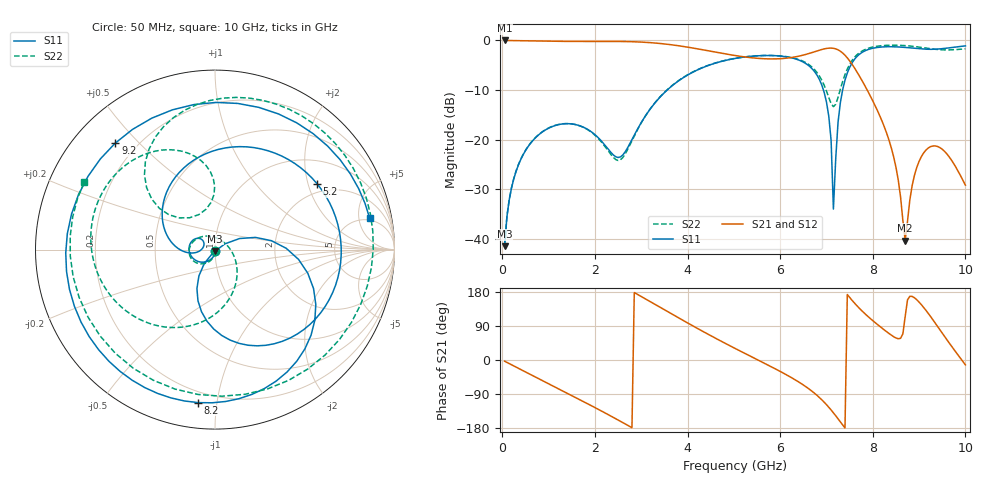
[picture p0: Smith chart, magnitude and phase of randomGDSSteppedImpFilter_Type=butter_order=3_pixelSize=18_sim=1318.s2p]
! freq	dB(S11)	phase(S11)	dB(S12)	phase(S12)
!  dB(S21)	phase(S21)	dB(S22)	phase(S22)
!S-par simulation data
#  GHz  S  DB  R 50
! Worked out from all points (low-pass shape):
!   200 points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, 50 MHz to 10 GHz, reference 50 ohm
!   highest |S21| = -0.02 dB at 50 MHz (marker M1); lowest = -40.3 dB at 8.7 GHz (marker M2)
!   |S21| within 3 dB of the highest: start of sweep to 5.002 GHz; 6.478 GHz to 7.402 GHz (924 MHz wide, 13.3 % of centre)
!   lowest |S11| = -41.5 dB at 50 MHz (marker M3), VSWR 1.02, Z = 50.2 - j0.833 ohm
!   |S11| at or under -10 dB: start of sweep to 3.561 GHz; 6.934 GHz to 7.349 GHz (415 MHz wide, 5.81 % of centre)
!   |S22| runs from -41.4 to -1.0 dB; largest |S21 - S12| = 0
!   S11 on the Smith chart (normalised r, x): 50 MHz: 1.00, -0.02; 5.2 GHz: 1.70, +2.29; 8.2 GHz: 0.14, -0.89; 9.2 GHz: 0.12, +0.43; 10 GHz: 4.52, +7.02
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0.05  -41.46 -79.2  -0.02 -3.2  -0.02 -3.2  -41.43 -78.9
0.2  -29.69 -99.3  -0.05 -12.7  -0.05 -12.7  -29.64 -97.2
0.55  -21.50 -126.5  -0.10 -34.6  -0.10 -34.6  -21.45 -120.8
1.75  -17.49 156.8  -0.22 -109.5  -0.22 -109.5  -17.52 163.7
2.55  -23.48 168.1  -0.23 -161.6  -0.23 -161.6  -24.07 45.6
3.4  -11.49 166.2  -0.63 139.7  -0.63 139.7  -11.45 -69.8
4.1  -6.48 114.8  -1.52 91.0  -1.52 91.0  -6.43 -114.7
5.05  -3.60 43.5  -3.09 29.1  -3.09 29.1  -3.59 -166.2
5.2  -3.39 32.7  -3.30 19.7  -3.30 19.7  -3.38 -174.0
5.95  -3.12 -20.0  -3.72 -26.8  -3.72 -26.8  -3.10 147.0
6.7  -5.82 -80.5  -2.43 -83.5  -2.43 -83.5  -5.49 102.2
7.05  -15.28 -121.4  -1.57 -124.6  -1.57 -124.6  -11.52 94.4
7.15  -33.99 -122.5  -1.60 -139.3  -1.60 -139.3  -13.36 114.8
7.25  -16.49 24.3  -1.91 -155.2  -1.91 -155.2  -11.51 138.4
7.4  -8.03 1.1  -3.00 -179.4  -3.00 -179.4  -6.90 141.4
7.7  -2.89 -41.7  -7.00 137.7  -7.00 137.7  -2.58 112.6
8.2  -1.33 -96.2  -16.27 84.0  -16.27 84.0  -1.07 62.1
8.35  -1.28 -111.7  -20.10 70.0  -20.10 70.0  -0.99 46.7
8.7  -1.43 -151.6  -40.33 115.1  -40.33 115.1  -1.06 6.6
9.2  -1.80 133.1  -21.67 122.7  -21.67 122.7  -1.62 -69.3
9.65  -1.51 57.2  -23.47 45.0  -23.47 45.0  -1.92 -152.0
10  -1.12 11.6  -29.17 -12.8  -29.17 -12.8  -1.72 152.6
